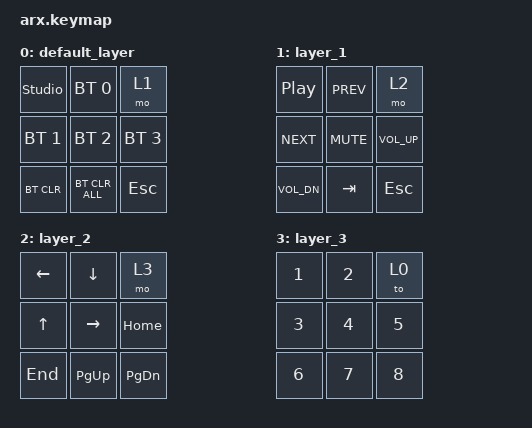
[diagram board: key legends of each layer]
#define ZMK_BEHAVIORS_KEEP_SK
#define ZMK_BEHAVIORS_KEEP_MT
#define ZMK_BEHAVIORS_KEEP_KT
#include <behaviors.dtsi>
#include <dt-bindings/zmk/bt.h>
#include <dt-bindings/zmk/keys.h>

/ {
    keymap {
        compatible = "zmk,keymap";

        default_layer {
            bindings = <
                &studio_unlock   &bt BT_SEL 0   &mo 1
                &bt BT_SEL 1     &bt BT_SEL 2   &bt BT_SEL 3
                &bt BT_CLR       &bt BT_CLR_ALL &kp ESC
            >;
        };

        layer_1 {
            bindings = <
                &kp C_PLAY_PAUSE &kp C_PREV     &mo 2
                &kp C_NEXT       &kp C_MUTE     &kp C_VOL_UP
                &kp C_VOL_DN     &kp TAB        &kp ESC
            >;
        };

        layer_2 {
            bindings = <
                &kp LEFT         &kp DOWN       &mo 3
                &kp UP           &kp RIGHT      &kp HOME
                &kp END          &kp PG_UP      &kp PG_DN
            >;
        };

        layer_3 {
            bindings = <
                &kp 1            &kp 2          &to 0
                &kp 3            &kp 4          &kp 5
                &kp 6            &kp 7          &kp 8
            >;
        };
    };
};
